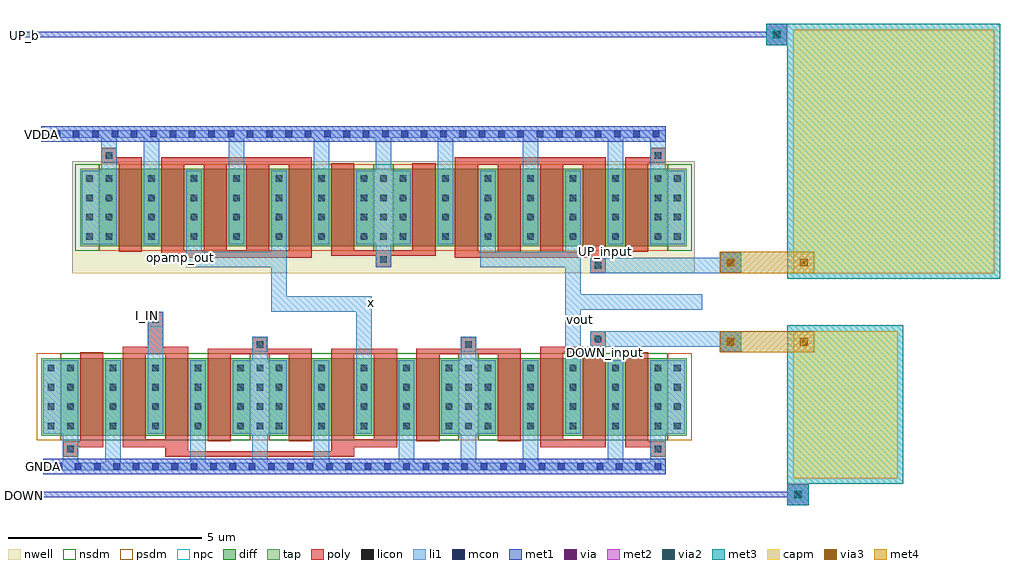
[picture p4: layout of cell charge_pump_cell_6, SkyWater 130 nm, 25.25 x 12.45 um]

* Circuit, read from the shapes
.subckt charge_pump_cell_6 DOWN DOWN_input GNDA I_IN UP_b UP_input VDDA opamp_out vout x
XM1 GNDA GNDA GNDA GNDA sky130_fd_pr__nfet_01v8 w=2 l=0.6 m=6
XM2 I_IN I_IN GNDA GNDA sky130_fd_pr__nfet_01v8 w=2 l=0.6 m=2
XM3 x I_IN GNDA GNDA sky130_fd_pr__nfet_01v8 w=2 l=0.6 m=2
XM4 vout DOWN_input GNDA GNDA sky130_fd_pr__nfet_01v8 w=2 l=0.6 m=2
XM5 VDDA VDDA VDDA VDDA sky130_fd_pr__pfet_01v8 w=2 l=0.6 m=4
XM6 x opamp_out VDDA VDDA sky130_fd_pr__pfet_01v8 w=2 l=0.6 m=4
XM7 vout UP_input VDDA VDDA sky130_fd_pr__pfet_01v8 w=2 l=0.6 m=4
XC8 DOWN_input DOWN sky130_fd_pr__cap_mim_m3_1 w=2.7 l=3.8
XC9 UP_input UP_b sky130_fd_pr__cap_mim_m3_1 w=5.2 l=6.3
.ends

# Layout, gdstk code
import gdstk
lib = gdstk.Library(unit=1e-6, precision=1e-09)
def R(c, l, rs):  # rectangles x0, y0, x1, y1
    for r in rs: c.add(gdstk.rectangle(r[:2], r[2:], *l))
def A(c, l, x, y, w, h, nx, ny, dx, dy):  # array of equal rectangles
    R(c, l, [(x+i*dx, y+j*dy, x+i*dx+w, y+j*dy+h) for i in range(nx) for j in range(ny)])
nwell = (64, 20)
diff = (65, 20)
tap = (65, 44)
poly = (66, 20)
licon = (66, 44)
li1 = (67, 20)
mcon = (67, 44)
met1 = (68, 20)
via = (68, 44)
met2 = (69, 20)
via2 = (69, 44)
met3 = (70, 20)
via3 = (70, 44)
met4 = (71, 20)
capm = (89, 44)
nsdm = (93, 44)
psdm = (94, 20)
npc = (95, 20)

charge_pump_cell_6 = lib.new_cell('charge_pump_cell_6')
R(charge_pump_cell_6, nwell, [(92.3,22.15,108.4,25.05)])
A(charge_pump_cell_6, diff, 92, 17.95, 4.9, 2, 3, 1, 5.4, 0)
R(charge_pump_cell_6, diff, [(93,22.85,100.1,24.85), (100.6,22.85,107.7,24.85)])
A(charge_pump_cell_6, tap, 91.5, 17.95, 0.5, 2, 4, 1, 5.4, 0)
A(charge_pump_cell_6, tap, 92.5, 22.85, 0.5, 2, 3, 1, 7.6, 0)
A(charge_pump_cell_6, poly, 93.6, 17.65, 1.7, 0.2, 3, 1, 5.4, 0)
A(charge_pump_cell_6, poly, 102.2, 22.7, 0.6, 2.25, 4, 1, 1.1, 0)
A(charge_pump_cell_6, poly, 94.6, 22.75, 0.6, 2.2, 4, 1, 1.1, 0)
R(charge_pump_cell_6, poly, [(92.05,17.4,92.45,17.65), (94.7,17.4,99.6,17.55), (107.25,17.4,107.65,17.65), (94.7,17.55,95.3,17.65), (99,17.55,99.6,17.65), (92.05,17.65,93.1,17.8), (106.6,17.65,107.65,17.8), (92.5,17.8,93.1,20.1), (95.8,17.8,96.4,20.05), (97.9,17.8,98.5,20.05), (101.2,17.8,101.8,20.05), (103.3,17.8,103.9,20.05), (106.6,17.8,107.2,20.1), (93.6,17.85,94.2,20.05), (94.7,17.85,95.3,20.05), (99,17.85,99.6,20.05), (100.1,17.85,100.7,20.05), (104.4,17.85,105,20.1), (105.5,17.85,106.1,20.1), (93.6,20.05,95.3,20.25), (95.8,20.05,98.5,20.2), (99,20.05,100.7,20.2), (101.2,20.05,103.9,20.2), (104.4,20.1,106.1,20.25), (96.95,20.2,97.35,20.5), (102.35,20.2,102.75,20.5), (94.25,20.25,94.65,21.15), (105.7,20.25,106.1,20.65), (105.7,22.15,106.1,22.55), (100.15,22.3,100.55,22.6), (94.6,22.55,98.5,22.75), (102.2,22.55,106.1,22.7), (99,22.6,101.7,22.75), (93.5,22.7,94.1,25), (106.6,22.7,107.2,25), (99,22.75,99.6,25), (101.1,22.75,101.7,25), (94.6,24.95,98.5,25.15), (102.2,24.95,106.1,25.15), (93.05,25,94.1,25.15), (106.6,25,107.65,25.15), (93.05,25.15,93.45,25.4), (107.25,25.15,107.65,25.4)])
A(charge_pump_cell_6, licon, 91.665, 18.115, 0.17, 0.17, 1, 4, 0, 0.5)
A(charge_pump_cell_6, licon, 92.165, 18.115, 0.17, 0.17, 5, 4, 1.1, 0.5)
A(charge_pump_cell_6, licon, 97.065, 18.115, 0.17, 0.17, 1, 4, 0, 0.5)
A(charge_pump_cell_6, licon, 97.565, 18.115, 0.17, 0.17, 5, 4, 1.1, 0.5)
A(charge_pump_cell_6, licon, 102.465, 18.115, 0.17, 0.17, 1, 4, 0, 0.5)
A(charge_pump_cell_6, licon, 102.965, 18.115, 0.17, 0.17, 5, 4, 1.1, 0.5)
A(charge_pump_cell_6, licon, 107.865, 18.115, 0.17, 0.17, 1, 4, 0, 0.5)
A(charge_pump_cell_6, licon, 92.665, 23.015, 0.17, 0.17, 1, 4, 0, 0.5)
A(charge_pump_cell_6, licon, 93.165, 23.015, 0.17, 0.17, 7, 4, 1.1, 0.5)
A(charge_pump_cell_6, licon, 100.265, 23.015, 0.17, 0.17, 1, 4, 0, 0.5)
A(charge_pump_cell_6, licon, 100.765, 23.015, 0.17, 0.17, 7, 4, 1.1, 0.5)
A(charge_pump_cell_6, licon, 107.865, 23.015, 0.17, 0.17, 1, 4, 0, 0.5)
R(charge_pump_cell_6, licon, [(92.165,17.515,92.335,17.685), (107.365,17.515,107.535,17.685), (97.065,20.215,97.235,20.385), (102.465,20.215,102.635,20.385), (105.815,20.365,105.985,20.535), (94.365,20.865,94.535,21.035), (105.815,22.265,105.985,22.435), (100.265,22.415,100.435,22.585), (93.165,25.115,93.335,25.285), (107.365,25.115,107.535,25.285)])
A(charge_pump_cell_6, li1, 94.15, 22.9, 0.4, 2.75, 3, 1, 2.2, 0)
A(charge_pump_cell_6, li1, 101.75, 22.9, 0.4, 2.75, 3, 1, 2.2, 0)
A(charge_pump_cell_6, li1, 93.05, 24.8, 0.4, 0.85, 3, 1, 7.1, 0)
R(charge_pump_cell_6, li1, [(110.8,16.15,111.35,16.7), (91.55,17.05,107.65,17.25), (92.05,17.25,92.45,18), (93.15,17.25,93.55,19.9), (95.35,17.25,95.75,19.9), (96.95,17.25,97.35,18), (98.55,17.25,98.95,19.9), (100.75,17.25,101.15,19.9), (102.35,17.25,102.75,18), (103.95,17.25,104.35,19.9), (106.15,17.25,106.55,19.9), (107.25,17.25,107.65,18), (91.55,18,92.45,19.9), (94.25,18,94.65,21.15), (96.45,18,97.85,19.9), (99.65,18,100.05,21.15), (101.85,18,103.25,19.9), (105.05,18,105.45,21.2), (107.25,18,108.15,19.9), (96.95,19.9,97.35,20.5), (102.35,19.9,102.75,20.5), (109.05,20.1,109.6,20.25), (105.7,20.25,109.6,20.65), (97.45,21.15,100.05,21.55), (105.05,21.2,108.6,21.6), (97.45,21.55,97.85,22.3), (105.05,21.6,105.45,22.3), (105.7,22.15,109.6,22.55), (95.25,22.3,97.85,22.7), (100.15,22.3,100.55,22.9), (102.85,22.3,105.45,22.7), (109.05,22.55,109.6,22.7), (95.25,22.7,95.65,24.8), (97.45,22.7,97.85,24.8), (102.85,22.7,103.25,24.8), (105.05,22.7,105.45,24.8), (92.55,22.9,93.45,24.8), (99.65,22.9,101.05,24.8), (107.25,22.9,108.15,24.8), (91.5,25.65,107.65,25.85), (110.25,28.05,110.8,28.6)])
A(charge_pump_cell_6, mcon, 91.865, 17.065, 0.17, 0.17, 32, 1, 0.5, 0)
A(charge_pump_cell_6, mcon, 91.815, 25.665, 0.17, 0.17, 32, 1, 0.5, 0)
R(charge_pump_cell_6, mcon, [(110.99,16.34,111.16,16.51), (109.24,20.29,109.41,20.46), (109.24,22.34,109.41,22.51), (110.44,28.24,110.61,28.41)])
R(charge_pump_cell_6, met1, [(110.8,16.15,111.35,16.35), (91.05,16.35,111.35,16.5), (110.8,16.5,111.35,16.7), (91.55,16.95,107.65,17.35), (109.05,20.1,109.6,20.65), (109.05,22.15,109.6,22.7), (91.5,25.55,107.65,25.95), (110.25,28.05,110.8,28.25), (91.05,28.25,110.8,28.4), (110.25,28.4,110.8,28.6)])
R(charge_pump_cell_6, via, [(111,16.35,111.15,16.5), (109.25,20.3,109.4,20.45), (109.25,22.35,109.4,22.5), (110.45,28.25,110.6,28.4)])
R(charge_pump_cell_6, met2, [(110.8,16.15,111.35,16.7), (109.05,20.1,109.6,20.65), (109.05,22.15,109.6,22.7), (110.25,28.05,110.8,28.6)])
R(charge_pump_cell_6, via2, [(110.975,16.325,111.175,16.525), (109.225,20.275,109.425,20.475), (109.225,22.325,109.425,22.525), (110.425,28.225,110.625,28.425)])
R(charge_pump_cell_6, met3, [(110.8,16.15,111.35,16.7), (110.8,16.7,113.8,20.8), (109.05,20.1,109.6,20.65), (110.8,22,116.3,28.05), (109.05,22.15,109.6,22.7), (110.25,28.05,116.3,28.6)])
R(charge_pump_cell_6, via3, [(109.225,20.275,109.425,20.475), (111.125,20.275,111.325,20.475), (109.225,22.325,109.425,22.525), (111.125,22.325,111.325,22.525)])
R(charge_pump_cell_6, met4, [(109.05,20.1,111.5,20.65), (109.05,22.15,111.5,22.7)])
R(charge_pump_cell_6, capm, [(110.95,16.85,113.65,20.65), (110.95,22.15,116.15,28.45)])
A(charge_pump_cell_6, nsdm, 92, 17.825, 4.9, 2.25, 3, 1, 5.4, 0)
R(charge_pump_cell_6, nsdm, [(92.375,22.725,93,24.975), (100.1,22.725,100.6,24.975), (107.7,22.725,108.325,24.975)])
R(charge_pump_cell_6, psdm, [(91.375,17.825,92,20.075), (96.9,17.825,97.4,20.075), (102.3,17.825,102.8,20.075), (107.7,17.825,108.325,20.075), (93,22.725,100.1,24.975), (100.6,22.725,107.7,24.975)])
R(charge_pump_cell_6, npc, [(92.065,17.415,92.435,17.785), (107.265,17.415,107.635,17.785), (96.965,20.115,97.335,20.485), (102.365,20.115,102.735,20.485), (105.715,20.265,106.085,20.635), (94.265,20.765,94.635,21.135), (105.715,22.165,106.085,22.535), (100.165,22.315,100.535,22.685), (93.065,25.015,93.435,25.385), (107.265,25.015,107.635,25.385)])
charge_pump_cell_6.add(gdstk.Label('VDDA', (91.5,25.75), layer=68, texttype=5))
charge_pump_cell_6.add(gdstk.Label('GNDA', (91.55,17.15), layer=68, texttype=5))
charge_pump_cell_6.add(gdstk.Label('x', (100.05,21.4), layer=67, texttype=5))
charge_pump_cell_6.add(gdstk.Label('vout', (105.45,20.95), layer=67, texttype=5))
charge_pump_cell_6.add(gdstk.Label('UP_b', (91.05,28.3), layer=68, texttype=5))
charge_pump_cell_6.add(gdstk.Label('DOWN', (91.05,16.4), layer=68, texttype=5))
charge_pump_cell_6.add(gdstk.Label('I_IN', (94.25,21.05), layer=67, texttype=5))
charge_pump_cell_6.add(gdstk.Label('UP_input', (106.1,22.7), layer=66, texttype=5))
charge_pump_cell_6.add(gdstk.Label('DOWN_input', (106.1,20.1), layer=66, texttype=5))
charge_pump_cell_6.add(gdstk.Label('opamp_out', (95.1,22.55), layer=66, texttype=5))

lib.write_gds('charge_pump_cell_6.gds')
